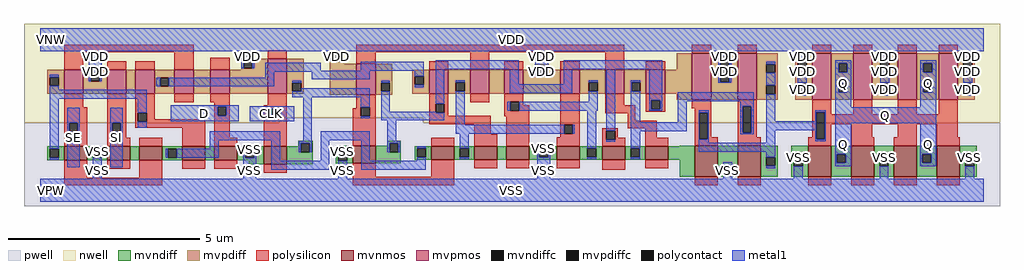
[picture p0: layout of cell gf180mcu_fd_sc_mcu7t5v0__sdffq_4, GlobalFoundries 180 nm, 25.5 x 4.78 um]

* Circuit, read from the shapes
.subckt gf180mcu_fd_sc_mcu7t5v0__sdffq_4 D SE SI CLK Q VDD VNW VPW VSS
XM1 VSS SE n1 VPW nfet_06v0 w=0.36u l=0.6u
XM2 n2 SI VSS VPW nfet_06v0 w=0.36u l=0.6u
XM3 n3 SE n2 VPW nfet_06v0 w=0.36u l=0.6u
XM4 n4 n1 n3 VPW nfet_06v0 w=0.36u l=0.6u
XM5 VSS D n4 VPW nfet_06v0 w=0.36u l=0.6u
XM6 n5 CLK VSS VPW nfet_06v0 w=0.465u l=0.6u
XM7 n6 n5 VSS VPW nfet_06v0 w=0.465u l=0.6u
XM8 n7 n5 n3 VPW nfet_06v0 w=0.36u l=0.6u
XM9 n8 n6 n7 VPW nfet_06v0 w=0.36u l=0.6u
XM10 VSS n9 n8 VPW nfet_06v0 w=0.36u l=0.6u
XM11 n9 n7 VSS VPW nfet_06v0 w=0.36u l=0.6u
XM12 n10 n6 n9 VPW nfet_06v0 w=0.36u l=0.6u
XM13 n11 n5 n10 VPW nfet_06v0 w=0.36u l=0.6u
XM14 VSS n12 n11 VPW nfet_06v0 w=0.815u l=0.6u
XM15 n12 n10 VSS VPW nfet_06v0 w=0.815u l=0.6u
XM16 Q n12 VSS VPW nfet_06v0 w=0.815u l=0.6u m=4
XM17 VDD SE n1 VNW pfet_06v0 w=0.63u l=0.5u
XM18 n13 SI VDD VNW pfet_06v0 w=0.63u l=0.5u
XM19 n14 n1 n13 VNW pfet_06v0 w=0.63u l=0.5u
XM20 n15 SE n14 VNW pfet_06v0 w=0.63u l=0.5u
XM21 VDD D n15 VNW pfet_06v0 w=0.63u l=0.5u
XM22 n5 CLK VDD VNW pfet_06v0 w=0.92u l=0.5u
XM23 n6 n5 VDD VNW pfet_06v0 w=0.815u l=0.5u
XM24 n7 n6 n14 VNW pfet_06v0 w=0.63u l=0.5u
XM25 n16 n5 n7 VNW pfet_06v0 w=0.63u l=0.5u
XM26 VDD n9 n16 VNW pfet_06v0 w=0.63u l=0.5u
XM27 n9 n7 VDD VNW pfet_06v0 w=0.63u l=0.51u
XM28 n10 n5 n9 VNW pfet_06v0 w=0.63u l=0.5u
XM29 n17 n6 n10 VNW pfet_06v0 w=0.63u l=0.5u
XM30 VDD n12 n17 VNW pfet_06v0 w=1.215u l=0.5u
XM31 n12 n10 VDD VNW pfet_06v0 w=1.215u l=0.5u
XM32 Q n12 VDD VNW pfet_06v0 w=1.215u l=0.5u m=4
.ends

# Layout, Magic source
magic
tech gf180mcuD
magscale 1 10
<< nwell >>
rect -86 377 5014 870
rect -86 352 1249 377
rect 2000 352 5014 377
<< pwell >>
rect 1249 352 2000 377
rect -86 -86 5014 352
<< mvnmos >>
rect 124 156 244 228
rect 348 156 468 228
rect 516 156 636 228
rect 740 156 860 228
rect 908 156 1028 228
rect 1168 135 1288 228
rect 1631 139 1751 232
rect 2043 158 2163 230
rect 2267 158 2387 230
rect 2435 158 2555 230
rect 2698 158 2818 230
rect 2936 158 3056 230
rect 3160 158 3280 230
rect 3420 69 3540 232
rect 3644 69 3764 232
rect 4012 69 4132 232
rect 4236 69 4356 232
rect 4460 69 4580 232
rect 4684 69 4804 232
<< mvpmos >>
rect 124 502 224 628
rect 348 502 448 628
rect 496 502 596 628
rect 700 502 800 628
rect 888 502 988 628
rect 1188 502 1288 686
rect 1651 497 1751 660
rect 2032 502 2132 628
rect 2246 502 2346 628
rect 2424 502 2524 628
rect 2716 502 2818 628
rect 2950 502 3050 628
rect 3164 502 3264 628
rect 3404 472 3504 715
rect 3644 472 3744 715
rect 4032 472 4132 715
rect 4246 472 4346 715
rect 4480 472 4580 715
rect 4694 472 4794 715
<< mvndiff >>
rect 1348 244 1424 257
rect 1348 228 1361 244
rect 36 215 124 228
rect 36 169 49 215
rect 95 169 124 215
rect 36 156 124 169
rect 244 215 348 228
rect 244 169 273 215
rect 319 169 348 215
rect 244 156 348 169
rect 468 156 516 228
rect 636 215 740 228
rect 636 169 665 215
rect 711 169 740 215
rect 636 156 740 169
rect 860 156 908 228
rect 1028 215 1168 228
rect 1028 169 1070 215
rect 1116 169 1168 215
rect 1028 156 1168 169
rect 1088 135 1168 156
rect 1288 198 1361 228
rect 1407 198 1424 244
rect 1811 244 1883 257
rect 1811 232 1824 244
rect 1288 135 1424 198
rect 1543 198 1631 232
rect 1543 152 1556 198
rect 1602 152 1631 198
rect 1543 139 1631 152
rect 1751 198 1824 232
rect 1870 198 1883 244
rect 3340 230 3420 232
rect 1751 139 1883 198
rect 1955 217 2043 230
rect 1955 171 1968 217
rect 2014 171 2043 217
rect 1955 158 2043 171
rect 2163 217 2267 230
rect 2163 171 2192 217
rect 2238 171 2267 217
rect 2163 158 2267 171
rect 2387 158 2435 230
rect 2555 217 2698 230
rect 2555 171 2607 217
rect 2653 171 2698 217
rect 2555 158 2698 171
rect 2818 217 2936 230
rect 2818 171 2857 217
rect 2903 171 2936 217
rect 2818 158 2936 171
rect 3056 217 3160 230
rect 3056 171 3085 217
rect 3131 171 3160 217
rect 3056 158 3160 171
rect 3280 158 3420 230
rect 3340 69 3420 158
rect 3540 128 3644 232
rect 3540 82 3569 128
rect 3615 82 3644 128
rect 3540 69 3644 82
rect 3764 172 3852 232
rect 3764 126 3793 172
rect 3839 126 3852 172
rect 3764 69 3852 126
rect 3924 171 4012 232
rect 3924 125 3937 171
rect 3983 125 4012 171
rect 3924 69 4012 125
rect 4132 188 4236 232
rect 4132 142 4161 188
rect 4207 142 4236 188
rect 4132 69 4236 142
rect 4356 171 4460 232
rect 4356 125 4385 171
rect 4431 125 4460 171
rect 4356 69 4460 125
rect 4580 188 4684 232
rect 4580 142 4609 188
rect 4655 142 4684 188
rect 4580 69 4684 142
rect 4804 171 4892 232
rect 4804 125 4833 171
rect 4879 125 4892 171
rect 4804 69 4892 125
<< mvpdiff >>
rect 1048 686 1120 701
rect 1512 716 1586 729
rect 1048 682 1188 686
rect 1048 636 1061 682
rect 1107 636 1188 682
rect 1048 628 1188 636
rect 36 590 124 628
rect 36 544 49 590
rect 95 544 124 590
rect 36 502 124 544
rect 224 615 348 628
rect 224 569 263 615
rect 309 569 348 615
rect 224 502 348 569
rect 448 502 496 628
rect 596 587 700 628
rect 596 541 625 587
rect 671 541 700 587
rect 596 502 700 541
rect 800 502 888 628
rect 988 502 1188 628
rect 1288 561 1376 686
rect 1288 515 1317 561
rect 1363 515 1376 561
rect 1288 502 1376 515
rect 1512 670 1525 716
rect 1571 670 1586 716
rect 1512 660 1586 670
rect 1512 497 1651 660
rect 1751 561 1839 660
rect 2584 645 2656 658
rect 2584 628 2597 645
rect 1751 515 1780 561
rect 1826 515 1839 561
rect 1751 497 1839 515
rect 1944 595 2032 628
rect 1944 549 1957 595
rect 2003 549 2032 595
rect 1944 502 2032 549
rect 2132 563 2246 628
rect 2132 517 2171 563
rect 2217 517 2246 563
rect 2132 502 2246 517
rect 2346 502 2424 628
rect 2524 599 2597 628
rect 2643 628 2656 645
rect 3324 628 3404 715
rect 2643 599 2716 628
rect 2524 502 2716 599
rect 2818 563 2950 628
rect 2818 517 2865 563
rect 2911 517 2950 563
rect 2818 502 2950 517
rect 3050 563 3164 628
rect 3050 517 3089 563
rect 3135 517 3164 563
rect 3050 502 3164 517
rect 3264 502 3404 628
rect 3324 472 3404 502
rect 3504 702 3644 715
rect 3504 562 3553 702
rect 3599 562 3644 702
rect 3504 472 3644 562
rect 3744 658 3852 715
rect 3744 612 3793 658
rect 3839 612 3852 658
rect 3744 547 3852 612
rect 3744 501 3793 547
rect 3839 501 3852 547
rect 3744 472 3852 501
rect 3944 679 4032 715
rect 3944 633 3957 679
rect 4003 633 4032 679
rect 3944 560 4032 633
rect 3944 514 3957 560
rect 4003 514 4032 560
rect 3944 472 4032 514
rect 4132 662 4246 715
rect 4132 616 4171 662
rect 4217 616 4246 662
rect 4132 557 4246 616
rect 4132 511 4171 557
rect 4217 511 4246 557
rect 4132 472 4246 511
rect 4346 679 4480 715
rect 4346 633 4389 679
rect 4435 633 4480 679
rect 4346 560 4480 633
rect 4346 514 4389 560
rect 4435 514 4480 560
rect 4346 472 4480 514
rect 4580 662 4694 715
rect 4580 616 4614 662
rect 4660 616 4694 662
rect 4580 557 4694 616
rect 4580 511 4614 557
rect 4660 511 4694 557
rect 4580 472 4694 511
rect 4794 679 4882 715
rect 4794 633 4823 679
rect 4869 633 4882 679
rect 4794 560 4882 633
rect 4794 514 4823 560
rect 4869 514 4882 560
rect 4794 472 4882 514
<< mvndiffc >>
rect 49 169 95 215
rect 273 169 319 215
rect 665 169 711 215
rect 1070 169 1116 215
rect 1361 198 1407 244
rect 1556 152 1602 198
rect 1824 198 1870 244
rect 1968 171 2014 217
rect 2192 171 2238 217
rect 2607 171 2653 217
rect 2857 171 2903 217
rect 3085 171 3131 217
rect 3569 82 3615 128
rect 3793 126 3839 172
rect 3937 125 3983 171
rect 4161 142 4207 188
rect 4385 125 4431 171
rect 4609 142 4655 188
rect 4833 125 4879 171
<< mvpdiffc >>
rect 1061 636 1107 682
rect 49 544 95 590
rect 263 569 309 615
rect 625 541 671 587
rect 1317 515 1363 561
rect 1525 670 1571 716
rect 1780 515 1826 561
rect 1957 549 2003 595
rect 2171 517 2217 563
rect 2597 599 2643 645
rect 2865 517 2911 563
rect 3089 517 3135 563
rect 3553 562 3599 702
rect 3793 612 3839 658
rect 3793 501 3839 547
rect 3957 633 4003 679
rect 3957 514 4003 560
rect 4171 616 4217 662
rect 4171 511 4217 557
rect 4389 633 4435 679
rect 4389 514 4435 560
rect 4614 616 4660 662
rect 4614 511 4660 557
rect 4823 633 4869 679
rect 4823 514 4869 560
<< polysilicon >>
rect 124 720 800 760
rect 124 628 224 720
rect 348 628 448 672
rect 496 628 596 672
rect 700 628 800 720
rect 888 628 988 692
rect 1188 686 1288 730
rect 1651 720 3050 760
rect 1651 660 1751 720
rect 124 432 224 502
rect 124 351 244 432
rect 124 305 150 351
rect 196 305 244 351
rect 124 228 244 305
rect 348 351 448 502
rect 348 305 374 351
rect 420 305 448 351
rect 496 403 596 502
rect 700 458 800 502
rect 888 458 988 502
rect 496 357 509 403
rect 555 371 596 403
rect 908 434 988 458
rect 1188 442 1288 502
rect 2032 628 2132 672
rect 2246 628 2346 720
rect 2424 628 2524 672
rect 2716 628 2818 672
rect 2950 628 3050 720
rect 3404 715 3504 759
rect 3644 715 3744 759
rect 4032 715 4132 759
rect 4246 715 4346 759
rect 4480 715 4580 759
rect 4694 715 4794 759
rect 3164 628 3264 672
rect 908 388 926 434
rect 972 388 988 434
rect 555 357 860 371
rect 496 325 860 357
rect 348 272 448 305
rect 348 228 468 272
rect 516 228 636 272
rect 740 228 860 325
rect 908 272 988 388
rect 1168 424 1288 442
rect 1651 432 1751 497
rect 1651 427 1674 432
rect 1168 378 1209 424
rect 1255 378 1288 424
rect 908 228 1028 272
rect 1168 228 1288 378
rect 1631 386 1674 427
rect 1720 386 1751 432
rect 124 64 244 156
rect 348 112 468 156
rect 516 64 636 156
rect 740 112 860 156
rect 908 112 1028 156
rect 1631 232 1751 386
rect 2032 451 2132 502
rect 2246 458 2346 502
rect 2424 460 2524 502
rect 2032 405 2065 451
rect 2111 405 2132 451
rect 2032 389 2132 405
rect 2424 414 2455 460
rect 2501 442 2524 460
rect 2501 414 2555 442
rect 2032 343 2352 389
rect 2424 386 2555 414
rect 2267 292 2352 343
rect 2043 230 2163 274
rect 2267 230 2387 292
rect 2435 230 2555 386
rect 2716 340 2818 502
rect 2950 442 3050 502
rect 3164 469 3264 502
rect 2950 402 3109 442
rect 3164 423 3192 469
rect 3238 423 3264 469
rect 3404 428 3504 472
rect 3164 410 3264 423
rect 2716 294 2736 340
rect 2782 294 2818 340
rect 3068 362 3109 402
rect 3420 405 3504 428
rect 3068 322 3220 362
rect 2716 276 2818 294
rect 2698 230 2818 276
rect 2936 309 3016 322
rect 2936 263 2957 309
rect 3003 274 3016 309
rect 3160 274 3220 322
rect 3003 263 3056 274
rect 2936 230 3056 263
rect 3160 230 3280 274
rect 3420 265 3442 405
rect 3488 276 3504 405
rect 3644 439 3744 472
rect 3644 299 3669 439
rect 3715 299 3744 439
rect 3644 276 3744 299
rect 4032 406 4132 472
rect 4032 276 4053 406
rect 3488 265 3540 276
rect 3420 232 3540 265
rect 3644 232 3764 276
rect 4012 266 4053 276
rect 4099 396 4132 406
rect 4246 396 4346 472
rect 4480 396 4580 472
rect 4694 396 4794 472
rect 4099 343 4794 396
rect 4099 266 4132 343
rect 4012 232 4132 266
rect 4236 276 4346 343
rect 4480 276 4580 343
rect 4236 232 4356 276
rect 4460 232 4580 276
rect 4684 276 4794 343
rect 4684 232 4804 276
rect 1168 91 1288 135
rect 124 24 636 64
rect 1631 70 1751 139
rect 2043 70 2163 158
rect 2267 114 2387 158
rect 2435 114 2555 158
rect 2698 114 2818 158
rect 2936 107 3056 158
rect 3160 114 3280 158
rect 1631 24 2163 70
rect 3420 25 3540 69
rect 3644 25 3764 69
rect 4012 25 4132 69
rect 4236 25 4356 69
rect 4460 25 4580 69
rect 4684 25 4804 69
<< polycontact >>
rect 150 305 196 351
rect 374 305 420 351
rect 509 357 555 403
rect 926 388 972 434
rect 1209 378 1255 424
rect 1674 386 1720 432
rect 2065 405 2111 451
rect 2455 414 2501 460
rect 3192 423 3238 469
rect 2736 294 2782 340
rect 2957 263 3003 309
rect 3442 265 3488 405
rect 3669 299 3715 439
rect 4053 266 4099 406
<< metal1 >>
rect 0 724 4928 844
rect 252 615 320 724
rect 1050 682 1118 724
rect 1050 636 1061 682
rect 1107 636 1118 682
rect 1514 716 1582 724
rect 1514 670 1525 716
rect 1571 670 1582 716
rect 49 590 95 603
rect 252 569 263 615
rect 309 569 320 615
rect 1175 624 1464 664
rect 1674 624 2003 670
rect 1175 618 1720 624
rect 1175 587 1221 618
rect 49 523 95 544
rect 606 541 625 587
rect 671 541 1221 587
rect 1418 578 1720 618
rect 1957 595 2003 624
rect 1317 561 1363 572
rect 49 477 555 523
rect 1780 561 1826 572
rect 1363 515 1720 532
rect 1317 486 1720 515
rect 49 215 95 477
rect 49 158 95 169
rect 141 351 206 431
rect 141 305 150 351
rect 196 305 206 351
rect 141 120 206 305
rect 365 351 430 431
rect 365 305 374 351
rect 420 305 430 351
rect 509 403 555 477
rect 682 434 1036 443
rect 682 388 926 434
rect 972 388 1036 434
rect 682 359 1036 388
rect 1093 424 1326 438
rect 1093 378 1209 424
rect 1255 378 1326 424
rect 1093 359 1326 378
rect 509 325 555 357
rect 273 215 319 228
rect 273 60 319 169
rect 365 120 430 305
rect 885 261 1252 307
rect 885 215 931 261
rect 654 169 665 215
rect 711 169 931 215
rect 1059 169 1070 215
rect 1116 169 1127 215
rect 1059 60 1127 169
rect 1206 152 1252 261
rect 1372 255 1418 486
rect 1674 432 1720 486
rect 1674 375 1720 386
rect 1957 538 2003 549
rect 2065 630 2498 678
rect 1780 410 1826 515
rect 2065 451 2111 630
rect 1780 405 2065 410
rect 1780 364 2111 405
rect 2171 563 2217 574
rect 1350 244 1418 255
rect 1350 198 1361 244
rect 1407 198 1418 244
rect 1464 261 1721 307
rect 1464 152 1510 261
rect 1206 106 1510 152
rect 1556 198 1602 209
rect 1556 60 1602 152
rect 1675 152 1721 261
rect 1813 255 1859 364
rect 2171 340 2217 517
rect 2452 553 2498 630
rect 2586 645 2654 724
rect 3542 702 3610 724
rect 2586 599 2597 645
rect 2643 599 2654 645
rect 2734 632 3249 678
rect 2734 553 2780 632
rect 2452 506 2780 553
rect 2865 563 2911 574
rect 2865 460 2911 517
rect 2440 414 2455 460
rect 2501 414 2911 460
rect 2171 294 2736 340
rect 2782 294 2793 340
rect 1813 244 1881 255
rect 1813 198 1824 244
rect 1870 198 1881 244
rect 1968 217 2014 228
rect 1968 152 2014 171
rect 2192 217 2238 294
rect 2857 217 2903 414
rect 2957 309 3003 632
rect 2957 252 3003 263
rect 3085 563 3135 574
rect 3085 517 3089 563
rect 3085 355 3135 517
rect 3181 469 3249 632
rect 3542 562 3553 702
rect 3599 562 3610 702
rect 3957 679 4003 724
rect 3542 560 3610 562
rect 3793 658 3839 669
rect 3793 547 3839 612
rect 3181 423 3192 469
rect 3238 423 3249 469
rect 3181 414 3249 423
rect 3331 463 3726 510
rect 3331 355 3377 463
rect 3658 439 3726 463
rect 3085 308 3377 355
rect 3439 405 3491 416
rect 2192 160 2238 171
rect 2596 171 2607 217
rect 2653 171 2664 217
rect 1675 106 2014 152
rect 2596 60 2664 171
rect 2857 160 2903 171
rect 3085 217 3135 308
rect 3131 171 3135 217
rect 3439 265 3442 405
rect 3488 265 3491 405
rect 3658 299 3669 439
rect 3715 299 3726 439
rect 3658 292 3726 299
rect 3793 359 3839 501
rect 4389 679 4435 724
rect 3957 560 4003 633
rect 3957 492 4003 514
rect 4152 662 4236 678
rect 4152 616 4171 662
rect 4217 616 4236 662
rect 4152 557 4236 616
rect 4152 511 4171 557
rect 4217 511 4236 557
rect 4152 432 4236 511
rect 4823 679 4869 724
rect 4389 560 4435 633
rect 4389 492 4435 514
rect 4596 662 4680 678
rect 4596 616 4614 662
rect 4660 616 4680 662
rect 4596 557 4680 616
rect 4596 511 4614 557
rect 4660 511 4680 557
rect 4596 432 4680 511
rect 4823 560 4869 633
rect 4823 492 4869 514
rect 4049 406 4103 417
rect 4049 359 4053 406
rect 3793 313 4053 359
rect 3439 246 3491 265
rect 3793 246 3839 313
rect 4049 266 4053 313
rect 4099 266 4103 406
rect 4049 255 4103 266
rect 4152 348 4680 432
rect 3439 199 3839 246
rect 3085 160 3135 171
rect 3793 172 3839 199
rect 3569 128 3615 145
rect 3793 115 3839 126
rect 3937 171 3983 190
rect 3569 60 3615 82
rect 3937 60 3983 125
rect 4152 188 4236 348
rect 4152 142 4161 188
rect 4207 142 4236 188
rect 4152 123 4236 142
rect 4385 171 4431 190
rect 4385 60 4431 125
rect 4596 188 4680 348
rect 4596 142 4609 188
rect 4655 142 4680 188
rect 4596 123 4680 142
rect 4833 171 4879 190
rect 4833 60 4879 125
rect 0 -60 4928 60
<< labels >>
flabel metal1 s 4596 432 4680 678 0 FreeSans 400 0 0 0 Q
port 5 nsew default output
flabel metal1 s 141 120 206 431 0 FreeSans 400 0 0 0 SE
port 2 nsew default input
flabel metal1 s 365 120 430 431 0 FreeSans 400 0 0 0 SI
port 3 nsew default input
flabel metal1 s 0 724 4928 844 0 FreeSans 400 0 0 0 VDD
port 6 nsew power bidirectional abutment
flabel metal1 s 1093 359 1326 438 0 FreeSans 400 0 0 0 CLK
port 4 nsew clock input
flabel metal1 s 682 359 1036 443 0 FreeSans 400 0 0 0 D
port 1 nsew default input
flabel metal1 s 273 217 319 228 0 FreeSans 400 0 0 0 VSS
port 9 nsew ground bidirectional abutment
flabel nwell s 10 734 110 834 0 FreeSans 400 0 0 0 VNW
port 7 nsew power bidirectional
flabel pwell s 10 -50 110 50 0 FreeSans 400 0 0 0 VPW
port 8 nsew ground bidirectional
rlabel metal1 s 4152 432 4236 678 1 Q
port 5 nsew default output
rlabel metal1 s 4152 348 4680 432 1 Q
port 5 nsew default output
rlabel metal1 s 4596 123 4680 348 1 Q
port 5 nsew default output
rlabel metal1 s 4152 123 4236 348 1 Q
port 5 nsew default output
rlabel metal1 s 4823 670 4869 724 1 VDD
port 6 nsew power bidirectional abutment
rlabel metal1 s 4389 670 4435 724 1 VDD
port 6 nsew power bidirectional abutment
rlabel metal1 s 3957 670 4003 724 1 VDD
port 6 nsew power bidirectional abutment
rlabel metal1 s 3542 670 3610 724 1 VDD
port 6 nsew power bidirectional abutment
rlabel metal1 s 2586 670 2654 724 1 VDD
port 6 nsew power bidirectional abutment
rlabel metal1 s 1514 670 1582 724 1 VDD
port 6 nsew power bidirectional abutment
rlabel metal1 s 1050 670 1118 724 1 VDD
port 6 nsew power bidirectional abutment
rlabel metal1 s 252 670 320 724 1 VDD
port 6 nsew power bidirectional abutment
rlabel metal1 s 4823 636 4869 670 1 VDD
port 6 nsew power bidirectional abutment
rlabel metal1 s 4389 636 4435 670 1 VDD
port 6 nsew power bidirectional abutment
rlabel metal1 s 3957 636 4003 670 1 VDD
port 6 nsew power bidirectional abutment
rlabel metal1 s 3542 636 3610 670 1 VDD
port 6 nsew power bidirectional abutment
rlabel metal1 s 2586 636 2654 670 1 VDD
port 6 nsew power bidirectional abutment
rlabel metal1 s 1050 636 1118 670 1 VDD
port 6 nsew power bidirectional abutment
rlabel metal1 s 252 636 320 670 1 VDD
port 6 nsew power bidirectional abutment
rlabel metal1 s 4823 599 4869 636 1 VDD
port 6 nsew power bidirectional abutment
rlabel metal1 s 4389 599 4435 636 1 VDD
port 6 nsew power bidirectional abutment
rlabel metal1 s 3957 599 4003 636 1 VDD
port 6 nsew power bidirectional abutment
rlabel metal1 s 3542 599 3610 636 1 VDD
port 6 nsew power bidirectional abutment
rlabel metal1 s 2586 599 2654 636 1 VDD
port 6 nsew power bidirectional abutment
rlabel metal1 s 252 599 320 636 1 VDD
port 6 nsew power bidirectional abutment
rlabel metal1 s 4823 569 4869 599 1 VDD
port 6 nsew power bidirectional abutment
rlabel metal1 s 4389 569 4435 599 1 VDD
port 6 nsew power bidirectional abutment
rlabel metal1 s 3957 569 4003 599 1 VDD
port 6 nsew power bidirectional abutment
rlabel metal1 s 3542 569 3610 599 1 VDD
port 6 nsew power bidirectional abutment
rlabel metal1 s 252 569 320 599 1 VDD
port 6 nsew power bidirectional abutment
rlabel metal1 s 4823 560 4869 569 1 VDD
port 6 nsew power bidirectional abutment
rlabel metal1 s 4389 560 4435 569 1 VDD
port 6 nsew power bidirectional abutment
rlabel metal1 s 3957 560 4003 569 1 VDD
port 6 nsew power bidirectional abutment
rlabel metal1 s 3542 560 3610 569 1 VDD
port 6 nsew power bidirectional abutment
rlabel metal1 s 4823 492 4869 560 1 VDD
port 6 nsew power bidirectional abutment
rlabel metal1 s 4389 492 4435 560 1 VDD
port 6 nsew power bidirectional abutment
rlabel metal1 s 3957 492 4003 560 1 VDD
port 6 nsew power bidirectional abutment
rlabel metal1 s 2596 215 2664 217 1 VSS
port 9 nsew ground bidirectional abutment
rlabel metal1 s 273 215 319 217 1 VSS
port 9 nsew ground bidirectional abutment
rlabel metal1 s 2596 209 2664 215 1 VSS
port 9 nsew ground bidirectional abutment
rlabel metal1 s 1059 209 1127 215 1 VSS
port 9 nsew ground bidirectional abutment
rlabel metal1 s 273 209 319 215 1 VSS
port 9 nsew ground bidirectional abutment
rlabel metal1 s 2596 190 2664 209 1 VSS
port 9 nsew ground bidirectional abutment
rlabel metal1 s 1556 190 1602 209 1 VSS
port 9 nsew ground bidirectional abutment
rlabel metal1 s 1059 190 1127 209 1 VSS
port 9 nsew ground bidirectional abutment
rlabel metal1 s 273 190 319 209 1 VSS
port 9 nsew ground bidirectional abutment
rlabel metal1 s 4833 145 4879 190 1 VSS
port 9 nsew ground bidirectional abutment
rlabel metal1 s 4385 145 4431 190 1 VSS
port 9 nsew ground bidirectional abutment
rlabel metal1 s 3937 145 3983 190 1 VSS
port 9 nsew ground bidirectional abutment
rlabel metal1 s 2596 145 2664 190 1 VSS
port 9 nsew ground bidirectional abutment
rlabel metal1 s 1556 145 1602 190 1 VSS
port 9 nsew ground bidirectional abutment
rlabel metal1 s 1059 145 1127 190 1 VSS
port 9 nsew ground bidirectional abutment
rlabel metal1 s 273 145 319 190 1 VSS
port 9 nsew ground bidirectional abutment
rlabel metal1 s 4833 60 4879 145 1 VSS
port 9 nsew ground bidirectional abutment
rlabel metal1 s 4385 60 4431 145 1 VSS
port 9 nsew ground bidirectional abutment
rlabel metal1 s 3937 60 3983 145 1 VSS
port 9 nsew ground bidirectional abutment
rlabel metal1 s 3569 60 3615 145 1 VSS
port 9 nsew ground bidirectional abutment
rlabel metal1 s 2596 60 2664 145 1 VSS
port 9 nsew ground bidirectional abutment
rlabel metal1 s 1556 60 1602 145 1 VSS
port 9 nsew ground bidirectional abutment
rlabel metal1 s 1059 60 1127 145 1 VSS
port 9 nsew ground bidirectional abutment
rlabel metal1 s 273 60 319 145 1 VSS
port 9 nsew ground bidirectional abutment
rlabel metal1 s 0 -60 4928 60 1 VSS
port 9 nsew ground bidirectional abutment
<< properties >>
string FIXED_BBOX 0 0 4928 784
string GDS_END 211378
string GDS_FILE $PDKPATH/libs.ref/gf180mcu_fd_sc_mcu7t5v0/gds/gf180mcu_fd_sc_mcu7t5v0.gds
string GDS_START 201074
string LEFclass core
string LEFsite GF018hv5v_mcu_sc7
string LEFsymmetry X Y
<< end >>
